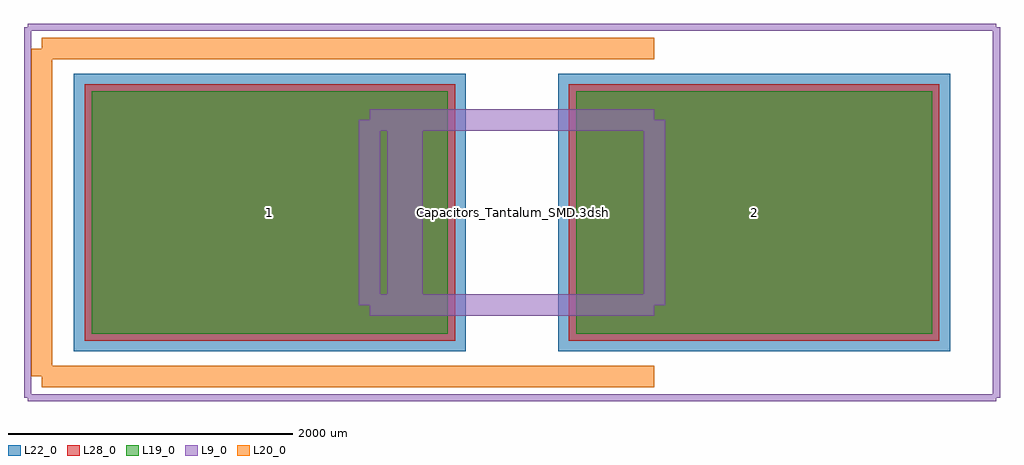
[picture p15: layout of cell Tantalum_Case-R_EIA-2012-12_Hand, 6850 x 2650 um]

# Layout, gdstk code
import gdstk
lib = gdstk.Library(unit=1e-6, precision=1e-09)
def R(c, l, rs):  # rectangles x0, y0, x1, y1
    for r in rs: c.add(gdstk.rectangle(r[:2], r[2:], *l))
L9_0 = (9, 0)
L19_0 = (19, 0)
L20_0 = (20, 0)
L22_0 = (22, 0)
L28_0 = (28, 0)

tantalum_case_r_eia_2012 = lib.new_cell('Tantalum_Case-R_EIA-2012-12_Hand')
R(tantalum_case_r_eia_2012, L19_0, [(-2950,-850,-450,850), (450,-850,2950,850)])
R(tantalum_case_r_eia_2012, L22_0, [(-3075,-975,-325,975), (325,-975,3075,975)])
R(tantalum_case_r_eia_2012, L28_0, [(-3000,-900,-400,900), (400,-900,3000,900)])
tantalum_case_r_eia_2012.add(gdstk.FlexPath([(-3300,1150),(-3300,-1150)], 149.998, ends="flush", simple_path=True, layer=20, datatype=0))  # L20_0
tantalum_case_r_eia_2012.add(gdstk.FlexPath([(-3300,-1150),(1000,-1150)], 149.998, ends="flush", simple_path=True, layer=20, datatype=0))  # L20_0
tantalum_case_r_eia_2012.add(gdstk.FlexPath([(-3300,1150),(1000,1150)], 149.998, ends="flush", simple_path=True, layer=20, datatype=0))  # L20_0
tantalum_case_r_eia_2012.add(gdstk.FlexPath([(-700,650),(-700,-650)], 149.998, ends="flush", simple_path=True, layer=9, datatype=0))  # L9_0
tantalum_case_r_eia_2012.add(gdstk.FlexPath([(-800,650),(-800,-650)], 149.998, ends="flush", simple_path=True, layer=9, datatype=0))  # L9_0
tantalum_case_r_eia_2012.add(gdstk.FlexPath([(1000,650),(-1000,650)], 149.998, ends="flush", simple_path=True, layer=9, datatype=0))  # L9_0
tantalum_case_r_eia_2012.add(gdstk.FlexPath([(1000,-650),(1000,650)], 149.998, ends="flush", simple_path=True, layer=9, datatype=0))  # L9_0
tantalum_case_r_eia_2012.add(gdstk.FlexPath([(-1000,-650),(1000,-650)], 149.998, ends="flush", simple_path=True, layer=9, datatype=0))  # L9_0
tantalum_case_r_eia_2012.add(gdstk.FlexPath([(-1000,650),(-1000,-650)], 149.998, ends="flush", simple_path=True, layer=9, datatype=0))  # L9_0
tantalum_case_r_eia_2012.add(gdstk.FlexPath([(3400,1300),(-3400,1300)], 50, ends="flush", simple_path=True, layer=9, datatype=0))  # L9_0
tantalum_case_r_eia_2012.add(gdstk.FlexPath([(3400,-1300),(3400,1300)], 50, ends="flush", simple_path=True, layer=9, datatype=0))  # L9_0
tantalum_case_r_eia_2012.add(gdstk.FlexPath([(-3400,-1300),(3400,-1300)], 50, ends="flush", simple_path=True, layer=9, datatype=0))  # L9_0
tantalum_case_r_eia_2012.add(gdstk.FlexPath([(-3400,1300),(-3400,-1300)], 50, ends="flush", simple_path=True, layer=9, datatype=0))  # L9_0
tantalum_case_r_eia_2012.add(gdstk.Label('Capacitors_Tantalum_SMD.3dshapes/Tantalum_Case-R_EIA-2012-12.wrl', (0,0), layer=12, texttype=0))
tantalum_case_r_eia_2012.add(gdstk.Label('2', (1700,0), layer=28, texttype=0))
tantalum_case_r_eia_2012.add(gdstk.Label('1', (-1700,0), layer=28, texttype=0))
tantalum_case_r_eia_2012.add(gdstk.Label('type', (0,-2400), layer=9, texttype=0))
tantalum_case_r_eia_2012.add(gdstk.Label('devicename', (0,2400), layer=9, texttype=0))

lib.write_gds('Tantalum_Case-R_EIA-2012-12_Hand.gds')
